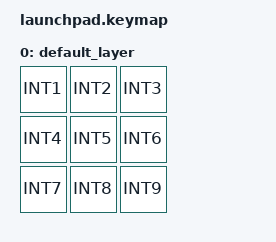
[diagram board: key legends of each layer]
/*
 * Copyright (c) 2020 The ZMK Contributors
 *
 * SPDX-License-Identifier: MIT
 */

#include <behaviors.dtsi>
#include <dt-bindings/zmk/keys.h>

/ {
    keymap {
        compatible = "zmk,keymap";

        default_layer {
            bindings = <
&kp INT1     &kp INT2     &kp INT3
&kp INT4     &kp INT5     &kp INT6
&kp INT7     &kp INT8     &kp INT9
            >;
        };
    };
};
